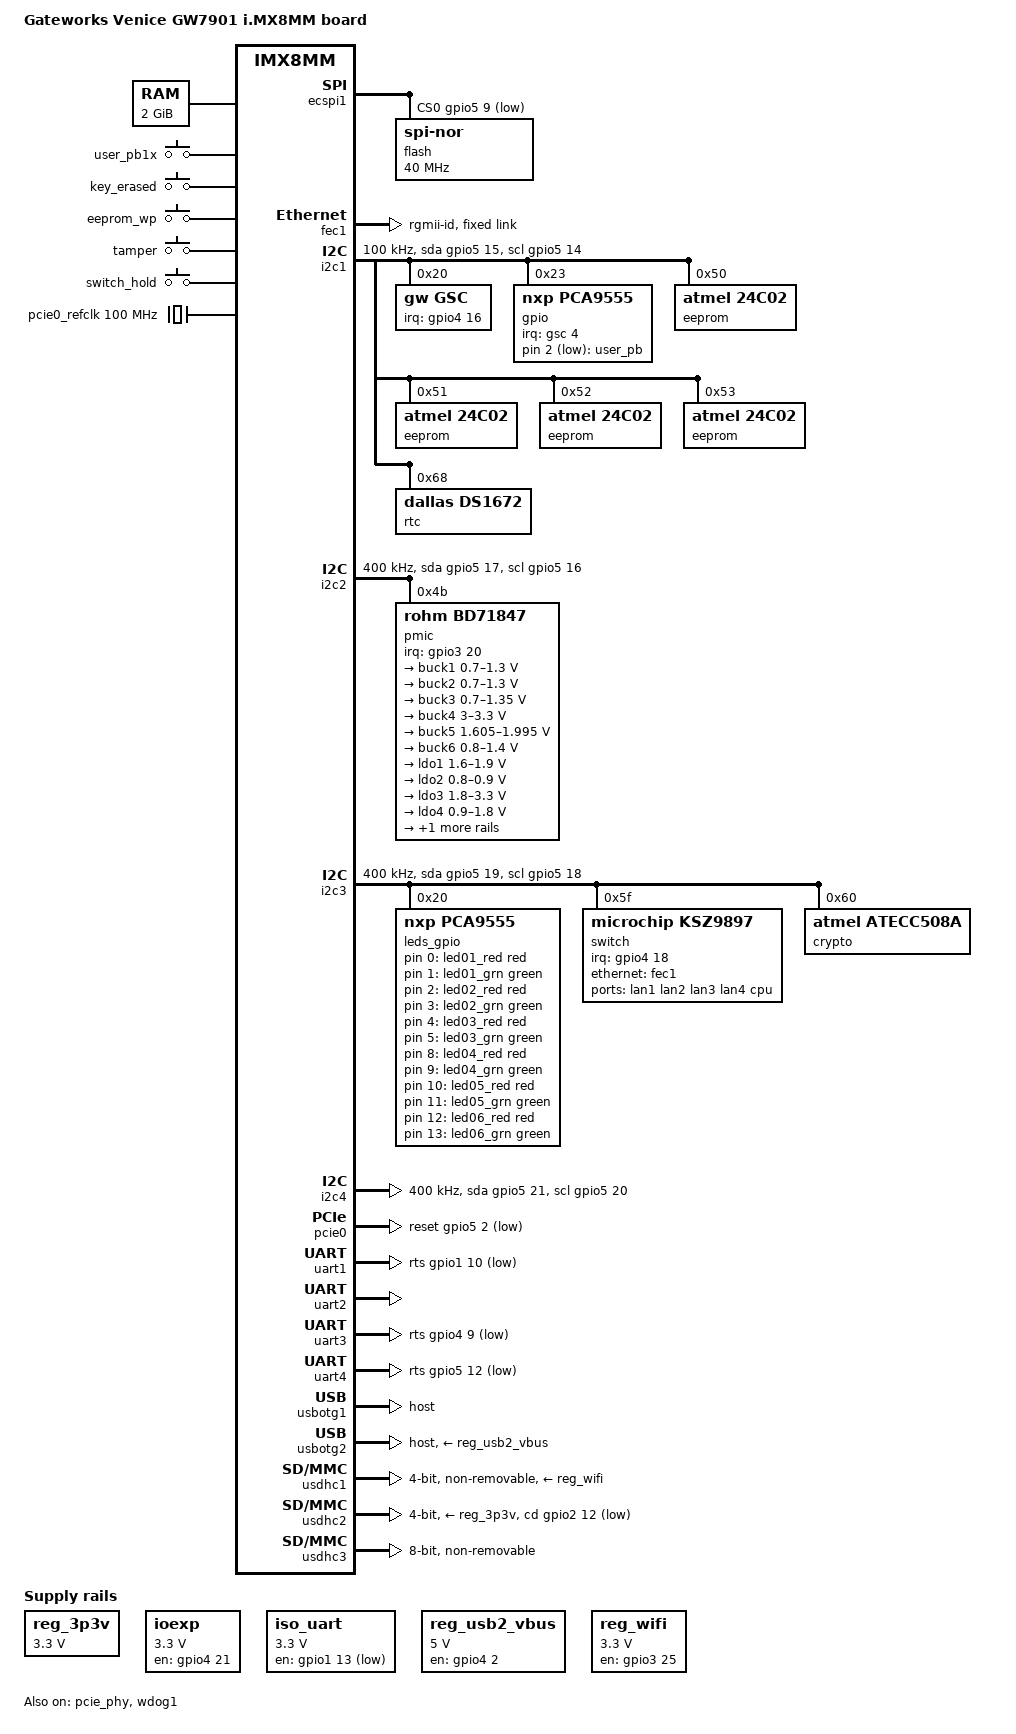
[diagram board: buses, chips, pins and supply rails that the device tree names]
// SPDX-License-Identifier: (GPL-2.0+ OR MIT)
/*
 * Copyright 2020 Gateworks Corporation
 */

/dts-v1/;

#include <dt-bindings/gpio/gpio.h>
#include <dt-bindings/input/linux-event-codes.h>
#include <dt-bindings/leds/common.h>
#include <dt-bindings/phy/phy-imx8-pcie.h>

#include "imx8mm.dtsi"

/ {
	model = "Gateworks Venice GW7901 i.MX8MM board";
	compatible = "gw,imx8mm-gw7901", "fsl,imx8mm";

	aliases {
		ethernet0 = &fec1;
		ethernet1 = &lan1;
		ethernet2 = &lan2;
		ethernet3 = &lan3;
		ethernet4 = &lan4;
		usb0 = &usbotg1;
		usb1 = &usbotg2;
	};

	chosen {
		stdout-path = &uart2;
	};

	memory@40000000 {
		device_type = "memory";
		reg = <0x0 0x40000000 0 0x80000000>;
	};

	gpio-keys {
		compatible = "gpio-keys";

		key-user-pb {
			label = "user_pb";
			gpios = <&gpio 2 GPIO_ACTIVE_LOW>;
			linux,code = <BTN_0>;
		};

		key-user-pb1x {
			label = "user_pb1x";
			linux,code = <BTN_1>;
			interrupt-parent = <&gsc>;
			interrupts = <0>;
		};

		key-erased {
			label = "key_erased";
			linux,code = <BTN_2>;
			interrupt-parent = <&gsc>;
			interrupts = <1>;
		};

		key-eeprom-wp {
			label = "eeprom_wp";
			linux,code = <BTN_3>;
			interrupt-parent = <&gsc>;
			interrupts = <2>;
		};

		key-tamper {
			label = "tamper";
			linux,code = <BTN_4>;
			interrupt-parent = <&gsc>;
			interrupts = <5>;
		};

		switch-hold {
			label = "switch_hold";
			linux,code = <BTN_5>;
			interrupt-parent = <&gsc>;
			interrupts = <7>;
		};
	};

	led-controller {
		compatible = "gpio-leds";

		led-0 {
			function = LED_FUNCTION_STATUS;
			color = <LED_COLOR_ID_RED>;
			label = "led01_red";
			gpios = <&leds_gpio 0 GPIO_ACTIVE_HIGH>;
			default-state = "off";
		};

		led-1 {
			function = LED_FUNCTION_STATUS;
			color = <LED_COLOR_ID_GREEN>;
			label = "led01_grn";
			gpios = <&leds_gpio 1 GPIO_ACTIVE_HIGH>;
			default-state = "off";
		};

		led-2 {
			function = LED_FUNCTION_STATUS;
			color = <LED_COLOR_ID_RED>;
			label = "led02_red";
			gpios = <&leds_gpio 2 GPIO_ACTIVE_HIGH>;
			default-state = "off";
		};

		led-3 {
			function = LED_FUNCTION_STATUS;
			color = <LED_COLOR_ID_GREEN>;
			label = "led02_grn";
			gpios = <&leds_gpio 3 GPIO_ACTIVE_HIGH>;
			default-state = "off";
		};

		led-4 {
			function = LED_FUNCTION_STATUS;
			color = <LED_COLOR_ID_RED>;
			label = "led03_red";
			gpios = <&leds_gpio 4 GPIO_ACTIVE_HIGH>;
			default-state = "off";
		};

		led-5 {
			function = LED_FUNCTION_STATUS;
			color = <LED_COLOR_ID_GREEN>;
			label = "led03_grn";
			gpios = <&leds_gpio 5 GPIO_ACTIVE_HIGH>;
			default-state = "off";
		};

		led-6 {
			function = LED_FUNCTION_STATUS;
			color = <LED_COLOR_ID_RED>;
			label = "led04_red";
			gpios = <&leds_gpio 8 GPIO_ACTIVE_HIGH>;
			default-state = "off";
		};

		led-7 {
			function = LED_FUNCTION_STATUS;
			color = <LED_COLOR_ID_GREEN>;
			label = "led04_grn";
			gpios = <&leds_gpio 9 GPIO_ACTIVE_HIGH>;
			default-state = "off";
		};

		led-8 {
			function = LED_FUNCTION_STATUS;
			color = <LED_COLOR_ID_RED>;
			label = "led05_red";
			gpios = <&leds_gpio 10 GPIO_ACTIVE_HIGH>;
			default-state = "off";
		};

		led-9 {
			function = LED_FUNCTION_STATUS;
			color = <LED_COLOR_ID_GREEN>;
			label = "led05_grn";
			gpios = <&leds_gpio 11 GPIO_ACTIVE_HIGH>;
			default-state = "off";
		};

		led-a {
			function = LED_FUNCTION_STATUS;
			color = <LED_COLOR_ID_RED>;
			label = "led06_red";
			gpios = <&leds_gpio 12 GPIO_ACTIVE_HIGH>;
			default-state = "off";
		};

		led-b {
			function = LED_FUNCTION_STATUS;
			color = <LED_COLOR_ID_GREEN>;
			label = "led06_grn";
			gpios = <&leds_gpio 13 GPIO_ACTIVE_HIGH>;
			default-state = "off";
		};
	};

	pcie0_refclk: pcie0-refclk {
		compatible = "fixed-clock";
		#clock-cells = <0>;
		clock-frequency = <100000000>;
	};

	reg_3p3v: regulator-3p3v {
		compatible = "regulator-fixed";
		regulator-name = "3P3V";
		regulator-min-microvolt = <3300000>;
		regulator-max-microvolt = <3300000>;
	};

	regulator-ioexp {
		pinctrl-names = "default";
		pinctrl-0 = <&pinctrl_reg_ioexp>;
		compatible = "regulator-fixed";
		regulator-name = "ioexp";
		gpio = <&gpio4 21 GPIO_ACTIVE_HIGH>;
		enable-active-high;
		startup-delay-us = <100>;
		regulator-min-microvolt = <3300000>;
		regulator-max-microvolt = <3300000>;
		regulator-always-on;
	};

	regulator-isouart {
		pinctrl-names = "default";
		pinctrl-0 = <&pinctrl_reg_isouart>;
		compatible = "regulator-fixed";
		regulator-name = "iso_uart";
		gpio = <&gpio1 13 GPIO_ACTIVE_LOW>;
		startup-delay-us = <100>;
		regulator-min-microvolt = <3300000>;
		regulator-max-microvolt = <3300000>;
		regulator-always-on;
	};

	reg_usb2_vbus: regulator-usb2 {
		pinctrl-names = "default";
		pinctrl-0 = <&pinctrl_reg_usb2>;
		compatible = "regulator-fixed";
		regulator-name = "usb_usb2_vbus";
		gpio = <&gpio4 2 GPIO_ACTIVE_HIGH>;
		enable-active-high;
		regulator-min-microvolt = <5000000>;
		regulator-max-microvolt = <5000000>;
	};

	reg_wifi: regulator-wifi {
		pinctrl-names = "default";
		pinctrl-0 = <&pinctrl_reg_wl>;
		compatible = "regulator-fixed";
		regulator-name = "wifi";
		gpio = <&gpio3 25 GPIO_ACTIVE_HIGH>;
		enable-active-high;
		startup-delay-us = <100>;
		regulator-min-microvolt = <3300000>;
		regulator-max-microvolt = <3300000>;
	};
};

&ddrc {
	operating-points-v2 = <&ddrc_opp_table>;

	ddrc_opp_table: opp-table {
		compatible = "operating-points-v2";

		opp-25000000 {
			opp-hz = /bits/ 64 <25000000>;
		};

		opp-100000000 {
			opp-hz = /bits/ 64 <100000000>;
		};

		opp-750000000 {
			opp-hz = /bits/ 64 <750000000>;
		};
	};
};

&disp_blk_ctrl {
	status = "disabled";
};

&ecspi1 {
	pinctrl-names = "default";
	pinctrl-0 = <&pinctrl_spi1>;
	cs-gpios = <&gpio5 9 GPIO_ACTIVE_LOW>;
	status = "okay";

	flash@0 {
		compatible = "jedec,spi-nor";
		reg = <0>;
		spi-max-frequency = <40000000>;
		status = "okay";
	};
};

&fec1 {
	pinctrl-names = "default";
	pinctrl-0 = <&pinctrl_fec1>;
	phy-mode = "rgmii-id";
	local-mac-address = [00 00 00 00 00 00];
	status = "okay";

	fixed-link {
		speed = <1000>;
		full-duplex;
	};
};

&gpio1 {
	gpio-line-names = "uart1_rs422#", "", "", "uart1_rs485#",
		"", "uart1_rs232#", "dig1_in", "dig1_out",
		"", "", "", "", "", "", "", "",
		"", "", "", "", "", "", "", "",
		"", "", "", "", "", "", "", "";
};

&gpio4 {
	gpio-line-names = "", "", "", "",
		"", "", "uart3_rs232#", "uart3_rs422#",
		"uart3_rs485#", "", "", "", "", "", "", "",
		"", "", "", "", "", "", "", "",
		"", "", "", "uart4_rs485#", "", "sim1det#", "sim2det#", "";
};

&gpio5 {
	gpio-line-names = "", "", "", "dig2_out", "dig2_in", "sim2sel", "", "",
		"", "", "uart4_rs232#", "", "", "uart4_rs422#", "", "",
		"", "", "", "", "", "", "", "",
		"", "", "", "", "", "", "", "";
};

&gpu_2d {
	status = "disabled";
};

&gpu_3d {
	status = "disabled";
};

&i2c1 {
	clock-frequency = <100000>;
	pinctrl-names = "default", "gpio";
	pinctrl-0 = <&pinctrl_i2c1>;
	pinctrl-1 = <&pinctrl_i2c1_gpio>;
	scl-gpios = <&gpio5 14 (GPIO_ACTIVE_HIGH | GPIO_OPEN_DRAIN)>;
	sda-gpios = <&gpio5 15 (GPIO_ACTIVE_HIGH | GPIO_OPEN_DRAIN)>;
	status = "okay";

	gsc: gsc@20 {
		compatible = "gw,gsc";
		reg = <0x20>;
		pinctrl-0 = <&pinctrl_gsc>;
		interrupt-parent = <&gpio4>;
		interrupts = <16 IRQ_TYPE_EDGE_FALLING>;
		interrupt-controller;
		#interrupt-cells = <1>;

		adc {
			compatible = "gw,gsc-adc";
			#address-cells = <1>;
			#size-cells = <0>;

			channel@6 {
				gw,mode = <0>;
				reg = <0x06>;
				label = "temp";
			};

			channel@8 {
				gw,mode = <3>;
				reg = <0x08>;
				label = "vdd_bat";
			};

			channel@82 {
				gw,mode = <2>;
				reg = <0x82>;
				label = "vin_aux1";
				gw,voltage-divider-ohms = <22100 1000>;
			};

			channel@84 {
				gw,mode = <2>;
				reg = <0x84>;
				label = "vin_aux2";
				gw,voltage-divider-ohms = <22100 1000>;
			};

			channel@86 {
				gw,mode = <2>;
				reg = <0x86>;
				label = "vdd_vin";
				gw,voltage-divider-ohms = <22100 1000>;
			};

			channel@88 {
				gw,mode = <2>;
				reg = <0x88>;
				label = "vdd_3p3";
				gw,voltage-divider-ohms = <10000 10000>;
			};

			channel@8c {
				gw,mode = <2>;
				reg = <0x8c>;
				label = "vdd_2p5";
				gw,voltage-divider-ohms = <10000 10000>;
			};

			channel@8e {
				gw,mode = <2>;
				reg = <0x8e>;
				label = "vdd_0p95";
			};

			channel@90 {
				gw,mode = <2>;
				reg = <0x90>;
				label = "vdd_soc";
			};

			channel@92 {
				gw,mode = <2>;
				reg = <0x92>;
				label = "vdd_arm";
			};

			channel@98 {
				gw,mode = <2>;
				reg = <0x98>;
				label = "vdd_1p8";
			};

			channel@9a {
				gw,mode = <2>;
				reg = <0x9a>;
				label = "vdd_1p2";
			};

			channel@9c {
				gw,mode = <2>;
				reg = <0x9c>;
				label = "vdd_dram";
			};

			channel@a2 {
				gw,mode = <2>;
				reg = <0xa2>;
				label = "vdd_gsc";
				gw,voltage-divider-ohms = <10000 10000>;
			};
		};
	};

	gpio: gpio@23 {
		compatible = "nxp,pca9555";
		reg = <0x23>;
		gpio-controller;
		#gpio-cells = <2>;
		interrupt-parent = <&gsc>;
		interrupts = <4>;
	};

	eeprom@50 {
		compatible = "atmel,24c02";
		reg = <0x50>;
		pagesize = <16>;
	};

	eeprom@51 {
		compatible = "atmel,24c02";
		reg = <0x51>;
		pagesize = <16>;
	};

	eeprom@52 {
		compatible = "atmel,24c02";
		reg = <0x52>;
		pagesize = <16>;
	};

	eeprom@53 {
		compatible = "atmel,24c02";
		reg = <0x53>;
		pagesize = <16>;
	};

	rtc@68 {
		compatible = "dallas,ds1672";
		reg = <0x68>;
	};
};

&i2c2 {
	clock-frequency = <400000>;
	pinctrl-names = "default", "gpio";
	pinctrl-0 = <&pinctrl_i2c2>;
	pinctrl-1 = <&pinctrl_i2c2_gpio>;
	scl-gpios = <&gpio5 16 (GPIO_ACTIVE_HIGH | GPIO_OPEN_DRAIN)>;
	sda-gpios = <&gpio5 17 (GPIO_ACTIVE_HIGH | GPIO_OPEN_DRAIN)>;
	status = "okay";

	pmic@4b {
		compatible = "rohm,bd71847";
		reg = <0x4b>;
		pinctrl-names = "default";
		pinctrl-0 = <&pinctrl_pmic>;
		interrupt-parent = <&gpio3>;
		interrupts = <20 IRQ_TYPE_LEVEL_LOW>;
		rohm,reset-snvs-powered;
		#clock-cells = <0>;
		clocks = <&osc_32k 0>;
		clock-output-names = "clk-32k-out";

		regulators {
			/* vdd_soc: 0.805-0.900V (typ=0.8V) */
			BUCK1 {
				regulator-name = "buck1";
				regulator-min-microvolt = <700000>;
				regulator-max-microvolt = <1300000>;
				regulator-boot-on;
				regulator-always-on;
				regulator-ramp-delay = <1250>;
			};

			/* vdd_arm: 0.805-1.0V (typ=0.9V) */
			BUCK2 {
				regulator-name = "buck2";
				regulator-min-microvolt = <700000>;
				regulator-max-microvolt = <1300000>;
				regulator-boot-on;
				regulator-always-on;
				regulator-ramp-delay = <1250>;
				rohm,dvs-run-voltage = <1000000>;
				rohm,dvs-idle-voltage = <900000>;
			};

			/* vdd_0p9: 0.805-1.0V (typ=0.9V) */
			BUCK3 {
				regulator-name = "buck3";
				regulator-min-microvolt = <700000>;
				regulator-max-microvolt = <1350000>;
				regulator-boot-on;
				regulator-always-on;
			};

			/* vdd_3p3 */
			BUCK4 {
				regulator-name = "buck4";
				regulator-min-microvolt = <3000000>;
				regulator-max-microvolt = <3300000>;
				regulator-boot-on;
				regulator-always-on;
			};

			/* vdd_1p8 */
			BUCK5 {
				regulator-name = "buck5";
				regulator-min-microvolt = <1605000>;
				regulator-max-microvolt = <1995000>;
				regulator-boot-on;
				regulator-always-on;
			};

			/* vdd_dram */
			BUCK6 {
				regulator-name = "buck6";
				regulator-min-microvolt = <800000>;
				regulator-max-microvolt = <1400000>;
				regulator-boot-on;
				regulator-always-on;
			};

			/* nvcc_snvs_1p8 */
			LDO1 {
				regulator-name = "ldo1";
				regulator-min-microvolt = <1600000>;
				regulator-max-microvolt = <1900000>;
				regulator-boot-on;
				regulator-always-on;
			};

			/* vdd_snvs_0p8 */
			LDO2 {
				regulator-name = "ldo2";
				regulator-min-microvolt = <800000>;
				regulator-max-microvolt = <900000>;
				regulator-boot-on;
				regulator-always-on;
			};

			/* vdda_1p8 */
			LDO3 {
				regulator-name = "ldo3";
				regulator-min-microvolt = <1800000>;
				regulator-max-microvolt = <3300000>;
				regulator-boot-on;
				regulator-always-on;
			};

			LDO4 {
				regulator-name = "ldo4";
				regulator-min-microvolt = <900000>;
				regulator-max-microvolt = <1800000>;
				regulator-boot-on;
				regulator-always-on;
			};

			LDO6 {
				regulator-name = "ldo6";
				regulator-min-microvolt = <900000>;
				regulator-max-microvolt = <1800000>;
				regulator-boot-on;
				regulator-always-on;
			};
		};
	};
};

&i2c3 {
	clock-frequency = <400000>;
	pinctrl-names = "default", "gpio";
	pinctrl-0 = <&pinctrl_i2c3>;
	pinctrl-1 = <&pinctrl_i2c3_gpio>;
	scl-gpios = <&gpio5 18 (GPIO_ACTIVE_HIGH | GPIO_OPEN_DRAIN)>;
	sda-gpios = <&gpio5 19 (GPIO_ACTIVE_HIGH | GPIO_OPEN_DRAIN)>;
	status = "okay";

	leds_gpio: gpio@20 {
		compatible = "nxp,pca9555";
		reg = <0x20>;
		gpio-controller;
		#gpio-cells = <2>;
	};

	switch: switch@5f {
		compatible = "microchip,ksz9897";
		reg = <0x5f>;
		pinctrl-0 = <&pinctrl_ksz>;
		interrupt-parent = <&gpio4>;
		interrupts = <18 IRQ_TYPE_EDGE_FALLING>;
		phy-mode = "rgmii-id";

		ports {
			#address-cells = <1>;
			#size-cells = <0>;

			lan1: port@0 {
				reg = <0>;
				label = "lan1";
				phy-mode = "internal";
				local-mac-address = [00 00 00 00 00 00];
			};

			lan2: port@1 {
				reg = <1>;
				label = "lan2";
				phy-mode = "internal";
				local-mac-address = [00 00 00 00 00 00];
			};

			lan3: port@2 {
				reg = <2>;
				label = "lan3";
				phy-mode = "internal";
				local-mac-address = [00 00 00 00 00 00];
			};

			lan4: port@3 {
				reg = <3>;
				label = "lan4";
				phy-mode = "internal";
				local-mac-address = [00 00 00 00 00 00];
			};

			port@5 {
				reg = <5>;
				label = "cpu";
				ethernet = <&fec1>;
				phy-mode = "rgmii-id";

				fixed-link {
					speed = <1000>;
					full-duplex;
				};
			};
		};
	};

	crypto@60 {
		compatible = "atmel,atecc508a";
		reg = <0x60>;
	};
};

&i2c4 {
	clock-frequency = <400000>;
	pinctrl-names = "default", "gpio";
	pinctrl-0 = <&pinctrl_i2c4>;
	pinctrl-1 = <&pinctrl_i2c4_gpio>;
	scl-gpios = <&gpio5 20 (GPIO_ACTIVE_HIGH | GPIO_OPEN_DRAIN)>;
	sda-gpios = <&gpio5 21 (GPIO_ACTIVE_HIGH | GPIO_OPEN_DRAIN)>;
	status = "okay";
};

&pcie_phy {
	fsl,refclk-pad-mode = <IMX8_PCIE_REFCLK_PAD_INPUT>;
	fsl,clkreq-unsupported;
	clocks = <&pcie0_refclk>;
	clock-names = "ref";
	status = "okay";
};

&pcie0 {
	pinctrl-names = "default";
	pinctrl-0 = <&pinctrl_pcie0>;
	reset-gpio = <&gpio5 2 GPIO_ACTIVE_LOW>;
	clocks = <&clk IMX8MM_CLK_PCIE1_ROOT>, <&pcie0_refclk>,
		 <&clk IMX8MM_CLK_PCIE1_AUX>;
	assigned-clocks = <&clk IMX8MM_CLK_PCIE1_AUX>,
			  <&clk IMX8MM_CLK_PCIE1_CTRL>;
	assigned-clock-rates = <10000000>, <250000000>;
	assigned-clock-parents = <&clk IMX8MM_SYS_PLL2_50M>,
				 <&clk IMX8MM_SYS_PLL2_250M>;
	status = "okay";
};

&pgc_gpu {
	status = "disabled";
};

&pgc_gpumix {
	status = "disabled";
};

&pgc_mipi {
	status = "disabled";
};

&uart1 {
	pinctrl-names = "default";
	pinctrl-0 = <&pinctrl_uart1>, <&pinctrl_uart1_gpio>;
	rts-gpios = <&gpio1 10 GPIO_ACTIVE_LOW>;
	cts-gpios = <&gpio1 12 GPIO_ACTIVE_LOW>;
	dtr-gpios = <&gpio1 14 GPIO_ACTIVE_LOW>;
	dsr-gpios = <&gpio1 1 GPIO_ACTIVE_LOW>;
	dcd-gpios = <&gpio1 11 GPIO_ACTIVE_LOW>;
	status = "okay";
};

/* console */
&uart2 {
	pinctrl-names = "default";
	pinctrl-0 = <&pinctrl_uart2>;
	status = "okay";
};

&uart3 {
	pinctrl-names = "default";
	pinctrl-0 = <&pinctrl_uart3>, <&pinctrl_uart3_gpio>;
	cts-gpios = <&gpio4 10 GPIO_ACTIVE_LOW>;
	rts-gpios = <&gpio4 9 GPIO_ACTIVE_LOW>;
	status = "okay";
};

&uart4 {
	pinctrl-names = "default";
	pinctrl-0 = <&pinctrl_uart4>, <&pinctrl_uart4_gpio>;
	cts-gpios = <&gpio5 11 GPIO_ACTIVE_LOW>;
	rts-gpios = <&gpio5 12 GPIO_ACTIVE_LOW>;
	status = "okay";
};

&usbotg1 {
	dr_mode = "host";
	disable-over-current;
	status = "okay";
};

&usbotg2 {
	dr_mode = "host";
	vbus-supply = <&reg_usb2_vbus>;
	over-current-active-low;
	status = "okay";
};

/* SDIO WiFi */
&usdhc1 {
	pinctrl-names = "default";
	pinctrl-0 = <&pinctrl_usdhc1>;
	bus-width = <4>;
	non-removable;
	vmmc-supply = <&reg_wifi>;
	status = "okay";
};

/* microSD */
&usdhc2 {
	pinctrl-names = "default", "state_100mhz", "state_200mhz";
	pinctrl-0 = <&pinctrl_usdhc2>, <&pinctrl_usdhc2_gpio>;
	pinctrl-1 = <&pinctrl_usdhc2_100mhz>, <&pinctrl_usdhc2_gpio>;
	pinctrl-2 = <&pinctrl_usdhc2_200mhz>, <&pinctrl_usdhc2_gpio>;
	cd-gpios = <&gpio2 12 GPIO_ACTIVE_LOW>;
	bus-width = <4>;
	vmmc-supply = <&reg_3p3v>;
	status = "okay";
};

/* eMMC */
&usdhc3 {
	pinctrl-names = "default", "state_100mhz", "state_200mhz";
	pinctrl-0 = <&pinctrl_usdhc3>;
	pinctrl-1 = <&pinctrl_usdhc3_100mhz>;
	pinctrl-2 = <&pinctrl_usdhc3_200mhz>;
	bus-width = <8>;
	non-removable;
	status = "okay";
};

&wdog1 {
	pinctrl-names = "default";
	pinctrl-0 = <&pinctrl_wdog>;
	fsl,ext-reset-output;
	status = "okay";
};

&iomuxc {
	pinctrl-names = "default";
	pinctrl-0 = <&pinctrl_hog>;

	pinctrl_hog: hoggrp {
		fsl,pins = <
			MX8MM_IOMUXC_SPDIF_TX_GPIO5_IO3		0x40000041 /* DIG2_OUT */
			MX8MM_IOMUXC_SPDIF_RX_GPIO5_IO4		0x40000041 /* DIG2_IN */
			MX8MM_IOMUXC_GPIO1_IO06_GPIO1_IO6	0x40000041 /* DIG1_IN */
			MX8MM_IOMUXC_GPIO1_IO07_GPIO1_IO7	0x40000041 /* DIG1_OUT */
			MX8MM_IOMUXC_SAI3_RXD_GPIO4_IO30	0x40000041 /* SIM2DET# */
			MX8MM_IOMUXC_SAI3_RXC_GPIO4_IO29	0x40000041 /* SIM1DET# */
			MX8MM_IOMUXC_SPDIF_EXT_CLK_GPIO5_IO5	0x40000041 /* SIM2SEL */
		>;
	};

	pinctrl_fec1: fec1grp {
		fsl,pins = <
			MX8MM_IOMUXC_ENET_MDC_ENET1_MDC			0x3
			MX8MM_IOMUXC_ENET_MDIO_ENET1_MDIO		0x3
			MX8MM_IOMUXC_ENET_TD3_ENET1_RGMII_TD3		0x1f
			MX8MM_IOMUXC_ENET_TD2_ENET1_RGMII_TD2		0x1f
			MX8MM_IOMUXC_ENET_TD1_ENET1_RGMII_TD1		0x1f
			MX8MM_IOMUXC_ENET_TD0_ENET1_RGMII_TD0		0x1f
			MX8MM_IOMUXC_ENET_RD3_ENET1_RGMII_RD3		0x91
			MX8MM_IOMUXC_ENET_RD2_ENET1_RGMII_RD2		0x91
			MX8MM_IOMUXC_ENET_RD1_ENET1_RGMII_RD1		0x91
			MX8MM_IOMUXC_ENET_RD0_ENET1_RGMII_RD0		0x91
			MX8MM_IOMUXC_ENET_TXC_ENET1_RGMII_TXC		0x1f
			MX8MM_IOMUXC_ENET_RXC_ENET1_RGMII_RXC		0x91
			MX8MM_IOMUXC_ENET_RX_CTL_ENET1_RGMII_RX_CTL	0x91
			MX8MM_IOMUXC_ENET_TX_CTL_ENET1_RGMII_TX_CTL	0x1f
			MX8MM_IOMUXC_SAI1_TXD6_GPIO4_IO18		0x19 /* IRQ# */
			MX8MM_IOMUXC_SAI1_TXD7_GPIO4_IO19		0x19 /* RST# */
		>;
	};

	pinctrl_gsc: gscgrp {
		fsl,pins = <
			MX8MM_IOMUXC_SAI1_TXD4_GPIO4_IO16	0x159
		>;
	};

	pinctrl_i2c1: i2c1grp {
		fsl,pins = <
			MX8MM_IOMUXC_I2C1_SCL_I2C1_SCL		0x400001c3
			MX8MM_IOMUXC_I2C1_SDA_I2C1_SDA		0x400001c3
		>;
	};

	pinctrl_i2c1_gpio: i2c1gpiogrp {
		fsl,pins = <
			MX8MM_IOMUXC_I2C1_SCL_GPIO5_IO14	0x400001c3
			MX8MM_IOMUXC_I2C1_SDA_GPIO5_IO15	0x400001c3
		>;
	};

	pinctrl_i2c2: i2c2grp {
		fsl,pins = <
			MX8MM_IOMUXC_I2C2_SCL_I2C2_SCL		0x400001c3
			MX8MM_IOMUXC_I2C2_SDA_I2C2_SDA		0x400001c3
		>;
	};

	pinctrl_i2c2_gpio: i2c2gpiogrp {
		fsl,pins = <
			MX8MM_IOMUXC_I2C2_SCL_GPIO5_IO16	0x400001c3
			MX8MM_IOMUXC_I2C2_SDA_GPIO5_IO17	0x400001c3
		>;
	};

	pinctrl_i2c3: i2c3grp {
		fsl,pins = <
			MX8MM_IOMUXC_I2C3_SCL_I2C3_SCL		0x400001c3
			MX8MM_IOMUXC_I2C3_SDA_I2C3_SDA		0x400001c3
		>;
	};

	pinctrl_i2c3_gpio: i2c3gpiogrp {
		fsl,pins = <
			MX8MM_IOMUXC_I2C3_SCL_GPIO5_IO18	0x400001c3
			MX8MM_IOMUXC_I2C3_SDA_GPIO5_IO19	0x400001c3
		>;
	};

	pinctrl_i2c4: i2c4grp {
		fsl,pins = <
			MX8MM_IOMUXC_I2C4_SCL_I2C4_SCL		0x400001c3
			MX8MM_IOMUXC_I2C4_SDA_I2C4_SDA		0x400001c3
		>;
	};

	pinctrl_i2c4_gpio: i2c4gpiogrp {
		fsl,pins = <
			MX8MM_IOMUXC_I2C4_SCL_GPIO5_IO20	0x400001c3
			MX8MM_IOMUXC_I2C4_SDA_GPIO5_IO21	0x400001c3
		>;
	};

	pinctrl_ksz: kszgrp {
		fsl,pins = <
			MX8MM_IOMUXC_SAI1_TXD6_GPIO4_IO18	0x41
			MX8MM_IOMUXC_SAI1_TXD7_GPIO4_IO19	0x41 /* RST# */
		>;
	};

	pinctrl_pcie0: pciegrp {
		fsl,pins = <
			MX8MM_IOMUXC_SAI3_TXFS_GPIO4_IO31	0x40000041 /* WDIS# */
			MX8MM_IOMUXC_SAI3_MCLK_GPIO5_IO2	0x41
		>;
	};

	pinctrl_pmic: pmicgrp {
		fsl,pins = <
			MX8MM_IOMUXC_SAI5_RXC_GPIO3_IO20	0x41
		>;
	};

	pinctrl_reg_isouart: regisouartgrp {
		fsl,pins = <
			MX8MM_IOMUXC_GPIO1_IO13_GPIO1_IO13	0x40000041
		>;
	};

	pinctrl_reg_ioexp: regioexpgrp {
		fsl,pins = <
			MX8MM_IOMUXC_SAI2_RXFS_GPIO4_IO21	0x40000041
		>;
	};

	pinctrl_reg_wl: regwlgrp {
		fsl,pins = <
			MX8MM_IOMUXC_SAI5_MCLK_GPIO3_IO25	0x40000041
		>;
	};

	pinctrl_reg_usb2: regusb1grp {
		fsl,pins = <
			MX8MM_IOMUXC_SAI1_RXD0_GPIO4_IO2	0x41
			MX8MM_IOMUXC_SAI1_TXD5_GPIO4_IO17	0x140
			MX8MM_IOMUXC_GPIO1_IO15_USB2_OTG_OC	0x140
		>;
	};

	pinctrl_spi1: spi1grp {
		fsl,pins = <
			MX8MM_IOMUXC_ECSPI1_SCLK_ECSPI1_SCLK	0x82
			MX8MM_IOMUXC_ECSPI1_MOSI_ECSPI1_MOSI	0x82
			MX8MM_IOMUXC_ECSPI1_MISO_ECSPI1_MISO	0x82
			MX8MM_IOMUXC_ECSPI1_SS0_GPIO5_IO9	0x140
		>;
	};

	pinctrl_uart1: uart1grp {
		fsl,pins = <
			MX8MM_IOMUXC_UART1_RXD_UART1_DCE_RX	0x140
			MX8MM_IOMUXC_UART1_TXD_UART1_DCE_TX	0x140
			MX8MM_IOMUXC_GPIO1_IO01_GPIO1_IO1	0x140
			MX8MM_IOMUXC_GPIO1_IO10_GPIO1_IO10	0x140
			MX8MM_IOMUXC_GPIO1_IO11_GPIO1_IO11	0x140
			MX8MM_IOMUXC_GPIO1_IO12_GPIO1_IO12	0x140
			MX8MM_IOMUXC_GPIO1_IO14_GPIO1_IO14	0x140
		>;
	};

	pinctrl_uart1_gpio: uart1gpiogrp {
		fsl,pins = <
			MX8MM_IOMUXC_GPIO1_IO00_GPIO1_IO0	0x40000041 /* RS422# */
			MX8MM_IOMUXC_GPIO1_IO03_GPIO1_IO3	0x40000041 /* RS485# */
			MX8MM_IOMUXC_GPIO1_IO05_GPIO1_IO5	0x40000041 /* RS232# */
		>;
	};

	pinctrl_uart2: uart2grp {
		fsl,pins = <
			MX8MM_IOMUXC_UART2_RXD_UART2_DCE_RX	0x140
			MX8MM_IOMUXC_UART2_TXD_UART2_DCE_TX	0x140
		>;
	};

	pinctrl_uart3: uart3grp {
		fsl,pins = <
			MX8MM_IOMUXC_UART3_RXD_UART3_DCE_RX	0x140
			MX8MM_IOMUXC_UART3_TXD_UART3_DCE_TX	0x140
			MX8MM_IOMUXC_SAI1_RXD7_GPIO4_IO9	0x140
			MX8MM_IOMUXC_SAI1_TXFS_GPIO4_IO10	0x140
		>;
	};

	pinctrl_uart3_gpio: uart3gpiogrp {
		fsl,pins = <
			MX8MM_IOMUXC_SAI1_RXD4_GPIO4_IO6	0x40000110 /* RS232# */
			MX8MM_IOMUXC_SAI1_RXD5_GPIO4_IO7	0x40000110 /* RS422# */
			MX8MM_IOMUXC_SAI1_RXD6_GPIO4_IO8	0x40000110 /* RS485# */
		>;
	};

	pinctrl_uart4: uart4grp {
		fsl,pins = <
			MX8MM_IOMUXC_UART4_RXD_UART4_DCE_RX	0x140
			MX8MM_IOMUXC_UART4_TXD_UART4_DCE_TX	0x140
			MX8MM_IOMUXC_ECSPI2_MOSI_GPIO5_IO11	0x140
			MX8MM_IOMUXC_ECSPI2_MISO_GPIO5_IO12	0x140
		>;
	};

	pinctrl_uart4_gpio: uart4gpiogrp {
		fsl,pins = <

			MX8MM_IOMUXC_ECSPI2_SCLK_GPIO5_IO10	0x40000041 /* RS232# */
			MX8MM_IOMUXC_ECSPI2_SS0_GPIO5_IO13	0x40000041 /* RS422# */
			MX8MM_IOMUXC_SAI2_MCLK_GPIO4_IO27	0x40000041 /* RS485# */
		>;
	};

	pinctrl_usdhc1: usdhc1grp {
		fsl,pins = <
			MX8MM_IOMUXC_SD1_CLK_USDHC1_CLK		0x190
			MX8MM_IOMUXC_SD1_CMD_USDHC1_CMD		0x1d0
			MX8MM_IOMUXC_SD1_DATA0_USDHC1_DATA0	0x1d0
			MX8MM_IOMUXC_SD1_DATA1_USDHC1_DATA1	0x1d0
			MX8MM_IOMUXC_SD1_DATA2_USDHC1_DATA2	0x1d0
			MX8MM_IOMUXC_SD1_DATA3_USDHC1_DATA3	0x1d0
		>;
	};

	pinctrl_usdhc2: usdhc2grp {
		fsl,pins = <
			MX8MM_IOMUXC_SD2_CLK_USDHC2_CLK		0x190
			MX8MM_IOMUXC_SD2_CMD_USDHC2_CMD		0x1d0
			MX8MM_IOMUXC_SD2_DATA0_USDHC2_DATA0	0x1d0
			MX8MM_IOMUXC_SD2_DATA1_USDHC2_DATA1	0x1d0
			MX8MM_IOMUXC_SD2_DATA2_USDHC2_DATA2	0x1d0
			MX8MM_IOMUXC_SD2_DATA3_USDHC2_DATA3	0x1d0
		>;
	};

	pinctrl_usdhc2_100mhz: usdhc2-100mhzgrp {
		fsl,pins = <
			MX8MM_IOMUXC_SD2_CLK_USDHC2_CLK		0x194
			MX8MM_IOMUXC_SD2_CMD_USDHC2_CMD		0x1d4
			MX8MM_IOMUXC_SD2_DATA0_USDHC2_DATA0	0x1d4
			MX8MM_IOMUXC_SD2_DATA1_USDHC2_DATA1	0x1d4
			MX8MM_IOMUXC_SD2_DATA2_USDHC2_DATA2	0x1d4
			MX8MM_IOMUXC_SD2_DATA3_USDHC2_DATA3	0x1d4
		>;
	};

	pinctrl_usdhc2_200mhz: usdhc2-200mhzgrp {
		fsl,pins = <
			MX8MM_IOMUXC_SD2_CLK_USDHC2_CLK		0x196
			MX8MM_IOMUXC_SD2_CMD_USDHC2_CMD		0x1d6
			MX8MM_IOMUXC_SD2_DATA0_USDHC2_DATA0	0x1d6
			MX8MM_IOMUXC_SD2_DATA1_USDHC2_DATA1	0x1d6
			MX8MM_IOMUXC_SD2_DATA2_USDHC2_DATA2	0x1d6
			MX8MM_IOMUXC_SD2_DATA3_USDHC2_DATA3	0x1d6
		>;
	};

	pinctrl_usdhc2_gpio: usdhc2-gpiogrp {
		fsl,pins = <
			MX8MM_IOMUXC_SD2_CD_B_GPIO2_IO12	0x1c4
			MX8MM_IOMUXC_GPIO1_IO04_USDHC2_VSELECT  0x1d0
		>;
	};

	pinctrl_usdhc3: usdhc3grp {
		fsl,pins = <
			MX8MM_IOMUXC_NAND_WE_B_USDHC3_CLK	0x190
			MX8MM_IOMUXC_NAND_WP_B_USDHC3_CMD	0x1d0
			MX8MM_IOMUXC_NAND_DATA04_USDHC3_DATA0	0x1d0
			MX8MM_IOMUXC_NAND_DATA05_USDHC3_DATA1	0x1d0
			MX8MM_IOMUXC_NAND_DATA06_USDHC3_DATA2	0x1d0
			MX8MM_IOMUXC_NAND_DATA07_USDHC3_DATA3	0x1d0
			MX8MM_IOMUXC_NAND_RE_B_USDHC3_DATA4	0x1d0
			MX8MM_IOMUXC_NAND_CE2_B_USDHC3_DATA5	0x1d0
			MX8MM_IOMUXC_NAND_CE3_B_USDHC3_DATA6	0x1d0
			MX8MM_IOMUXC_NAND_CLE_USDHC3_DATA7	0x1d0
			MX8MM_IOMUXC_NAND_CE1_B_USDHC3_STROBE	0x190
		>;
	};

	pinctrl_usdhc3_100mhz: usdhc3-100mhzgrp {
		fsl,pins = <
			MX8MM_IOMUXC_NAND_WE_B_USDHC3_CLK	0x194
			MX8MM_IOMUXC_NAND_WP_B_USDHC3_CMD	0x1d4
			MX8MM_IOMUXC_NAND_DATA04_USDHC3_DATA0	0x1d4
			MX8MM_IOMUXC_NAND_DATA05_USDHC3_DATA1	0x1d4
			MX8MM_IOMUXC_NAND_DATA06_USDHC3_DATA2	0x1d4
			MX8MM_IOMUXC_NAND_DATA07_USDHC3_DATA3	0x1d4
			MX8MM_IOMUXC_NAND_RE_B_USDHC3_DATA4	0x1d4
			MX8MM_IOMUXC_NAND_CE2_B_USDHC3_DATA5	0x1d4
			MX8MM_IOMUXC_NAND_CE3_B_USDHC3_DATA6	0x1d4
			MX8MM_IOMUXC_NAND_CLE_USDHC3_DATA7	0x1d4
			MX8MM_IOMUXC_NAND_CE1_B_USDHC3_STROBE	0x194
		>;
	};

	pinctrl_usdhc3_200mhz: usdhc3-200mhzgrp {
		fsl,pins = <
			MX8MM_IOMUXC_NAND_WE_B_USDHC3_CLK	0x196
			MX8MM_IOMUXC_NAND_WP_B_USDHC3_CMD	0x1d6
			MX8MM_IOMUXC_NAND_DATA04_USDHC3_DATA0	0x1d6
			MX8MM_IOMUXC_NAND_DATA05_USDHC3_DATA1	0x1d6
			MX8MM_IOMUXC_NAND_DATA06_USDHC3_DATA2	0x1d6
			MX8MM_IOMUXC_NAND_DATA07_USDHC3_DATA3	0x1d6
			MX8MM_IOMUXC_NAND_RE_B_USDHC3_DATA4	0x1d6
			MX8MM_IOMUXC_NAND_CE2_B_USDHC3_DATA5	0x1d6
			MX8MM_IOMUXC_NAND_CE3_B_USDHC3_DATA6	0x1d6
			MX8MM_IOMUXC_NAND_CLE_USDHC3_DATA7	0x1d6
			MX8MM_IOMUXC_NAND_CE1_B_USDHC3_STROBE	0x196
		>;
	};

	pinctrl_wdog: wdoggrp {
		fsl,pins = <
			MX8MM_IOMUXC_GPIO1_IO02_WDOG1_WDOG_B	0xc6
		>;
	};
};
